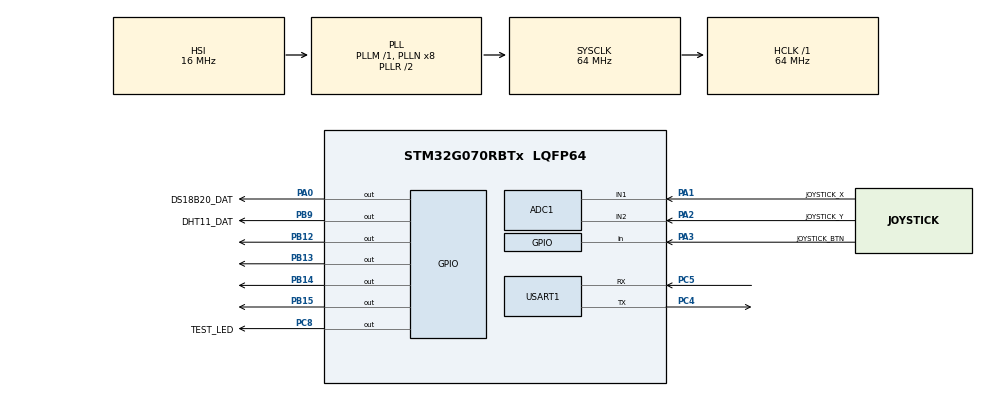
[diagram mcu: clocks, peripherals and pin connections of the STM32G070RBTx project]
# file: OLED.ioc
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ADC1.Channel-0\#ChannelRegularConversion=ADC_CHANNEL_1
ADC1.Channel-1\#ChannelRegularConversion=ADC_CHANNEL_2
ADC1.ClockPrescaler=ADC_CLOCK_ASYNC_DIV6
ADC1.ContinuousConvMode=ENABLE
ADC1.DMAContinuousRequests=ENABLE
ADC1.NbrOfConversion=2
ADC1.NbrOfConversionFlag=1
ADC1.Rank-0\#ChannelRegularConversion=1
ADC1.Rank-1\#ChannelRegularConversion=2
ADC1.SamplingTime-0\#ChannelRegularConversion=ADC_SAMPLINGTIME_COMMON_1
ADC1.SamplingTime-1\#ChannelRegularConversion=ADC_SAMPLINGTIME_COMMON_1
ADC1.SamplingTimeCommon1=ADC_SAMPLETIME_79CYCLES_5
ADC1.SamplingTimeCommon2=ADC_SAMPLETIME_79CYCLES_5
ADC1.SelectedChannel=ADC_CHANNEL_1|ADC_CHANNEL_2
ADC1.master=1
Dma.ADC1.0.Direction=DMA_PERIPH_TO_MEMORY
Dma.ADC1.0.EventEnable=DISABLE
Dma.ADC1.0.Instance=DMA1_Channel1
Dma.ADC1.0.MemDataAlignment=DMA_MDATAALIGN_HALFWORD
Dma.ADC1.0.MemInc=DMA_MINC_ENABLE
Dma.ADC1.0.Mode=DMA_CIRCULAR
Dma.ADC1.0.PeriphDataAlignment=DMA_PDATAALIGN_HALFWORD
Dma.ADC1.0.PeriphInc=DMA_PINC_DISABLE
Dma.ADC1.0.Polarity=HAL_DMAMUX_REQ_GEN_RISING
Dma.ADC1.0.Priority=DMA_PRIORITY_VERY_HIGH
Dma.ADC1.0.RequestNumber=1
Dma.ADC1.0.SignalID=NONE
Dma.ADC1.0.SyncEnable=DISABLE
Dma.ADC1.0.SyncPolarity=HAL_DMAMUX_SYNC_NO_EVENT
Dma.ADC1.0.SyncRequestNumber=1
Dma.ADC1.0.SyncSignalID=NONE
Dma.Request0=ADC1
Mcu.Family=STM32G0
Mcu.Name=STM32G070RBTx
Mcu.Package=LQFP64
NVIC.ADC1_IRQn=true\:0\:0\:false\:false\:true\:true\:true\:true
NVIC.DMA1_Channel1_IRQn=true\:0\:0\:false\:false\:true\:false\:true\:true
NVIC.TIM7_IRQn=true\:0\:0\:false\:false\:true\:false\:true\:true
NVIC.TimeBase=TIM7_IRQn
NVIC.TimeBaseIP=TIM7
PA0.GPIO_Label=DS18B20_DAT
PA0.PinState=GPIO_PIN_SET
PA0.Signal=GPIO_Output
PA1.GPIO_Label=JOYSTICK_X
PA1.Mode=IN1
PA1.Signal=ADC1_IN1
PA13.Mode=Serial_Wire
PA13.Signal=SYS_SWDIO
PA14-BOOT0.Mode=Serial_Wire
PA14-BOOT0.Signal=SYS_SWCLK
PA2.GPIO_Label=JOYSTICK_Y
PA2.Mode=IN2
PA2.Signal=ADC1_IN2
PA3.GPIO_Label=JOYSTICK_BTN
PA3.GPIO_PuPd=GPIO_PULLUP
PA3.Signal=GPIO_Input
PB12.GPIO_ModeDefaultOutputPP=GPIO_MODE_OUTPUT_PP
PB12.GPIO_PuPd=GPIO_PULLUP
PB12.GPIO_Speed=GPIO_SPEED_FREQ_VERY_HIGH
PB12.PinState=GPIO_PIN_SET
PB12.Signal=GPIO_Output
PB13.GPIO_ModeDefaultOutputPP=GPIO_MODE_OUTPUT_PP
PB13.GPIO_PuPd=GPIO_PULLUP
PB13.GPIO_Speed=GPIO_SPEED_FREQ_VERY_HIGH
PB13.PinState=GPIO_PIN_SET
PB13.Signal=GPIO_Output
PB14.GPIO_ModeDefaultOutputPP=GPIO_MODE_OUTPUT_PP
PB14.GPIO_PuPd=GPIO_PULLUP
PB14.GPIO_Speed=GPIO_SPEED_FREQ_VERY_HIGH
PB14.PinState=GPIO_PIN_SET
PB14.Signal=GPIO_Output
PB15.GPIO_ModeDefaultOutputPP=GPIO_MODE_OUTPUT_PP
PB15.GPIO_PuPd=GPIO_PULLUP
PB15.GPIO_Speed=GPIO_SPEED_FREQ_VERY_HIGH
PB15.PinState=GPIO_PIN_SET
PB15.Signal=GPIO_Output
PB9.GPIO_Label=DHT11_DAT
PB9.Signal=GPIO_Output
PC4.Mode=Asynchronous
PC4.Signal=USART1_TX
PC5.Mode=Asynchronous
PC5.Signal=USART1_RX
PC8.GPIO_Label=TEST_LED
PC8.PinState=GPIO_PIN_RESET
PC8.Signal=GPIO_Output
PF0-OSC_IN\ (PF0).Mode=HSE-External-Oscillator
PF0-OSC_IN\ (PF0).Signal=RCC_OSC_IN
PF1-OSC_OUT\ (PF1).Mode=HSE-External-Oscillator
PF1-OSC_OUT\ (PF1).Signal=RCC_OSC_OUT
ProjectManager.HeapSize=0x200
ProjectManager.StackSize=0x400
ProjectManager.TargetToolchain=MDK-ARM V5.27
RCC.ADCCLockSelection=RCC_ADCCLKSOURCE_HSI
RCC.ADCFreq_Value=16000000
RCC.AHBFreq_Value=64000000
RCC.CortexFreq_Value=64000000
RCC.EXTERNAL_CLOCK_VALUE=48000
RCC.HCLKFreq_Value=64000000
RCC.HSE_VALUE=8000000
RCC.HSI_VALUE=16000000
RCC.LSE_VALUE=32768
RCC.SYSCLKFreq_VALUE=64000000
RCC.SYSCLKSource=RCC_SYSCLKSOURCE_PLLCLK
RCC.VCOOutputFreq_Value=128000000
RTC.Date=29
RTC.Format=RTC_FORMAT_BCD
RTC.Hours=8
RTC.Minutes=30
RTC.Month=RTC_MONTH_DECEMBER
RTC.WeekDay=RTC_WEEKDAY_FRIDAY
RTC.Year=23
USART1.VirtualMode-Asynchronous=VM_ASYNC
VP_RTC_VS_RTC_Activate.Mode=RTC_Enabled
VP_RTC_VS_RTC_Calendar.Mode=RTC_Calendar
VP_SYS_VS_DBSignals.Mode=DisableDeadBatterySignals
VP_SYS_VS_tim7.Mode=TIM7
board=custom

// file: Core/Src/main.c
/* USER CODE BEGIN Header */
/**
 ******************************************************************************
 * @file           : main.c
 * @brief          : Main program body
 ******************************************************************************
 * @attention
 *
 * <h2><center>&copy; Copyright (c) 2023 STMicroelectronics.
 * All rights reserved.</center></h2>
 *
 * This software component is licensed by ST under BSD 3-Clause license,
 * the "License"; You may not use this file except in compliance with the
 * License. You may obtain a copy of the License at:
 *                        opensource.org/licenses/BSD-3-Clause
 *
 ******************************************************************************
 *
/* USER CODE END Header */
#include "main.h"
#include "adc.h"
#include "dma.h"
#include "rtc.h"
#include "usart.h"
#include "gpio.h"

/* USER CODE BEGIN Includes */
#include "joystick.h"
#include "ui.h"
#include "string.h"
#include "oled.h"
#include "u8g2.h"
#include "ds18b20.h"
#include "stdio.h"
#include "FreeRTOS.h"
#include "task.h"
/* USER CODE END Includes */

/* USER CODE BEGIN PTD */
// extern void xPortPendSVHandler(void);
// extern void xPortSysTickHandler(void);
// extern void vPortSVCHandler(void);
/* USER CODE END PTD */

void SystemClock_Config(void);

/* USER CODE BEGIN 0 */
char led_str[100];
uint8_t X = 0;
uint8_t Y = 0;
u8g2_t u8g2;
RTC_TimeTypeDef RTC_Time;
RTC_DateTypeDef RTC_Date;

void vTask_Update(void)
{
	for (;;)
	{
		UI_Update();
		// u8g2_ClearBuffer(&u8g2);
		UI_EventCallback();
		// HAL_Delay(500);
	}
}

/* USER CODE END 0 */

int main(void)
{

	/* MCU Configuration--------------------------------------------------------*/

	/* Reset of all peripherals, Initializes the Flash interface and the Systick. */
	HAL_Init();

	/* Configure the system clock */
	SystemClock_Config();

	/* Initialize all configured peripherals */
	MX_GPIO_Init();
	MX_DMA_Init();
	MX_ADC1_Init();
	MX_RTC_Init();
	MX_USART1_UART_Init();
	/* USER CODE BEGIN 2 */

	HAL_GPIO_WritePin(TEST_LED_GPIO_Port, TEST_LED_Pin, GPIO_PIN_SET);

	Ds18b20_Init();
	u8g2_Init(&u8g2);

	UI_Init();

	if (HAL_ADCEx_Calibration_Start(&hadc1) != HAL_OK) // ����У׼һ��
	{
		/* Calibration Error */
		Error_Handler();
	}

	HAL_ADC_Start_DMA(&hadc1, (uint32_t *)&ADC_VALUE, 2);

	xTaskCreate(vTask_Update, "vTask_Update", 200, NULL, 0, NULL);

	vTaskStartScheduler();

	/* USER CODE END 2 */

	/* Infinite loop */
	/* USER CODE BEGIN WHILE */

	while (1)
	{

		// UI_Update();
		// // u8g2_ClearBuffer(&u8g2);
		// UI_EventCallback();
		// // HAL_Delay(500);
	}

	// HAL_Delay(50);
	/* USER CODE END WHILE */

}

void SystemClock_Config(void)
{
	RCC_OscInitTypeDef RCC_OscInitStruct = {0};
	RCC_ClkInitTypeDef RCC_ClkInitStruct = {0};
	RCC_PeriphCLKInitTypeDef PeriphClkInit = {0};

	/** Configure the main internal regulator output voltage
	 */
	HAL_PWREx_ControlVoltageScaling(PWR_REGULATOR_VOLTAGE_SCALE1);
	/** Initializes the RCC Oscillators according to the specified parameters
	 * in the RCC_OscInitTypeDef structure.
	 */
	RCC_OscInitStruct.OscillatorType = RCC_OSCILLATORTYPE_HSI | RCC_OSCILLATORTYPE_LSI;
	RCC_OscInitStruct.HSIState = RCC_HSI_ON;
	RCC_OscInitStruct.HSIDiv = RCC_HSI_DIV1;
	RCC_OscInitStruct.HSICalibrationValue = RCC_HSICALIBRATION_DEFAULT;
	RCC_OscInitStruct.LSIState = RCC_LSI_ON;
	RCC_OscInitStruct.PLL.PLLState = RCC_PLL_ON;
	RCC_OscInitStruct.PLL.PLLSource = RCC_PLLSOURCE_HSI;
	RCC_OscInitStruct.PLL.PLLM = RCC_PLLM_DIV1;
	RCC_OscInitStruct.PLL.PLLN = 8;
	RCC_OscInitStruct.PLL.PLLP = RCC_PLLP_DIV2;
	RCC_OscInitStruct.PLL.PLLR = RCC_PLLR_DIV2;
	if (HAL_RCC_OscConfig(&RCC_OscInitStruct) != HAL_OK)
	{
		Error_Handler();
	}
	/** Initializes the CPU, AHB and APB buses clocks
	 */
	RCC_ClkInitStruct.ClockType = RCC_CLOCKTYPE_HCLK | RCC_CLOCKTYPE_SYSCLK | RCC_CLOCKTYPE_PCLK1;
	RCC_ClkInitStruct.SYSCLKSource = RCC_SYSCLKSOURCE_PLLCLK;
	RCC_ClkInitStruct.AHBCLKDivider = RCC_SYSCLK_DIV1;
	RCC_ClkInitStruct.APB1CLKDivider = RCC_HCLK_DIV1;

	if (HAL_RCC_ClockConfig(&RCC_ClkInitStruct, FLASH_LATENCY_2) != HAL_OK)
	{
		Error_Handler();
	}
	/** Initializes the peripherals clocks
	 */
	PeriphClkInit.PeriphClockSelection = RCC_PERIPHCLK_RTC | RCC_PERIPHCLK_USART1 | RCC_PERIPHCLK_ADC;
	PeriphClkInit.Usart1ClockSelection = RCC_USART1CLKSOURCE_PCLK1;
	PeriphClkInit.AdcClockSelection = RCC_ADCCLKSOURCE_HSI;
	PeriphClkInit.RTCClockSelection = RCC_RTCCLKSOURCE_LSI;

	if (HAL_RCCEx_PeriphCLKConfig(&PeriphClkInit) != HAL_OK)
	{
		Error_Handler();
	}
}

/* USER CODE BEGIN 4 */
void Delay_Us(unsigned long i)
{
	unsigned long j;
	for (i; i > 0; i--)
	{
		for (j = 27; j > 0; j--)
			;
	}
}

void fput(char c, FILE *f)
{
	// HAL_UART_Transmit(huart1, c, 0x01, 0xFF);
}
/* USER CODE END 4 */

void HAL_TIM_PeriodElapsedCallback(TIM_HandleTypeDef *htim)
{
	if (htim->Instance == TIM7)
	{
		HAL_IncTick();
	}
}

void Error_Handler(void)
{
	__disable_irq();
	while (1)
	{
	}
}

/************************ (C) COPYRIGHT STMicroelectronics *****END OF FILE****/
